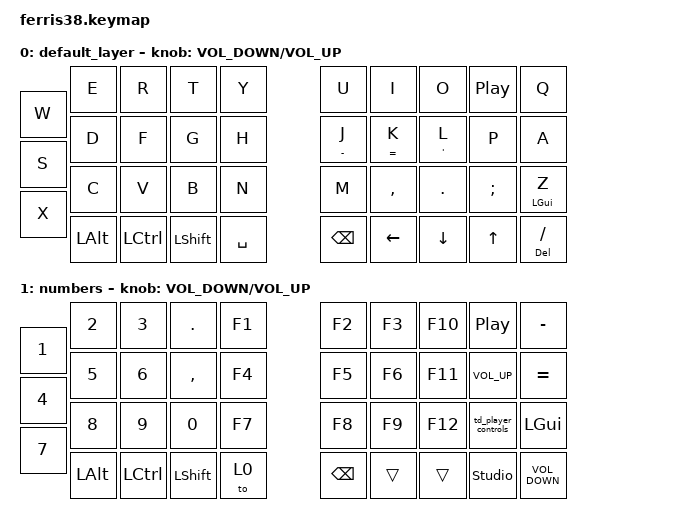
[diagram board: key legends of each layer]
#include <behaviors.dtsi>
#include <dt-bindings/zmk/keys.h>

#define DEFAULT 0

&sl { /delete-property/ quick-release; };

/ {
    combos {
        compatible = "zmk,combos";

        winkey {
            bindings = <&sk LEFT_GUI>;
            key-positions = <29 30>;
        };

        enter {
            bindings = <&kp RET>;
            key-positions = <34 35>;
        };

        sticky_numlayer {
            bindings = <&holdtap_sticky_layer 1 1>;
            key-positions = <33 32>;
            layers = <0>;
        };

        escape_combo {
            bindings = <&kp ESCAPE>;
            key-positions = <9 19>;
            layers = <0>;
        };

        brackets_combo {
            bindings = <&tap_prefrerred_holdtap RIGHT_BRACKET LEFT_BRACKET>;
            key-positions = <2 3>;
        };

        tab_tilde_combo {
            bindings = <&mt TILDE TAB>;
            key-positions = <9 10>;
        };

        numlayer {
            bindings = <&to 1>;
            key-positions = <18 28>;
        };
    };

    behaviors {
        tap_prefrerred_holdtap: tap_prefrerred_holdtap {
            compatible = "zmk,behavior-hold-tap";
            label = "TAP_PREFRERRED_HOLDTAP";
            bindings = <&kp>, <&kp>;

            #binding-cells = <2>;
            tapping-term-ms = <200>;
            flavor = "tap-preferred";
            require-prior-idle-ms = <200>;
        };

        td_player_controls: td_player_controls {
            compatible = "zmk,behavior-tap-dance";
            label = "TD_PLAYER_CONTROLS";
            #binding-cells = <0>;
            bindings = <&kp C_PLAY_PAUSE>, <&kp C_NEXT>, <&kp C_PREVIOUS>;

            tapping-term-ms = <300>;
        };

        holdtap_playr_ctl_or_vlm_ctl: holdtap_playr_ctl_or_vlm_ctl {
            compatible = "zmk,behavior-hold-tap";
            label = "HOLDTAP_PLAYR_CTL_OR_VLM_CTL";
            bindings = <&mo>, <&td_player_controls>;

            #binding-cells = <2>;
            tapping-term-ms = <300>;
        };

        holdtap_sticky_layer: holdtap_sticky_layer {
            compatible = "zmk,behavior-hold-tap";
            label = "HOLDTAP_STICKY_LAYER";
            bindings = <&to>, <&sl>;

            #binding-cells = <2>;
            flavor = "tap-preferred";
            tapping-term-ms = <200>;
        };
    };

    keymap {
        compatible = "zmk,keymap";

        default_layer {
            bindings = <
                &kp W     &kp E      &kp R       &kp T        &kp Y          &kp U                            &kp I                            &kp O                                   &kp C_PLAY_PAUSE 
&kp Q           &kp S     &kp D      &kp F       &kp G        &kp H          &tap_prefrerred_holdtap MINUS J  &tap_prefrerred_holdtap EQUAL K  &tap_prefrerred_holdtap SINGLE_QUOTE L  &kp P
&kp A           &kp X     &kp C      &kp V       &kp B        &kp N          &kp M                            &kp COMMA                        &kp DOT                                 &kp SEMI
&mt LEFT_GUI Z  &kp LALT  &kp LCTRL  &kp LSHIFT  &kp SPACE    &kp BACKSPACE  &kp LEFT                         &kp DOWN                         &kp UP                                  &tap_prefrerred_holdtap DEL SLASH
            >;
            sensor-bindings = <&inc_dec_kp C_VOLUME_DOWN C_VOL_UP >;
        };

        numbers {
            bindings = <
              &kp N1        &kp N2            &kp N3          &kp DOT      &kp F1         &kp F2  &kp F3  &kp F10         &kp C_PLAY_PAUSE
&kp MINUS     &kp N4        &kp N5            &kp N6          &kp COMMA    &kp F4         &kp F5  &kp F6  &kp F11         &kp C_VOL_UP
&kp EQUAL     &kp N7        &kp N8            &kp N9          &kp N0       &kp F7         &kp F8  &kp F9  &kp F12         &td_player_controls
&kp LEFT_GUI  &kp LEFT_ALT  &kp LEFT_CONTROL  &kp LEFT_SHIFT  &to 0        &kp BACKSPACE  &trans  &trans  &studio_unlock  &kp C_VOLUME_DOWN
            >;
            sensor-bindings = <&inc_dec_kp C_VOLUME_DOWN C_VOL_UP >;
        };

        extra1 { status = "reserved"; };

        extra2 { status = "reserved"; };
    };
};
